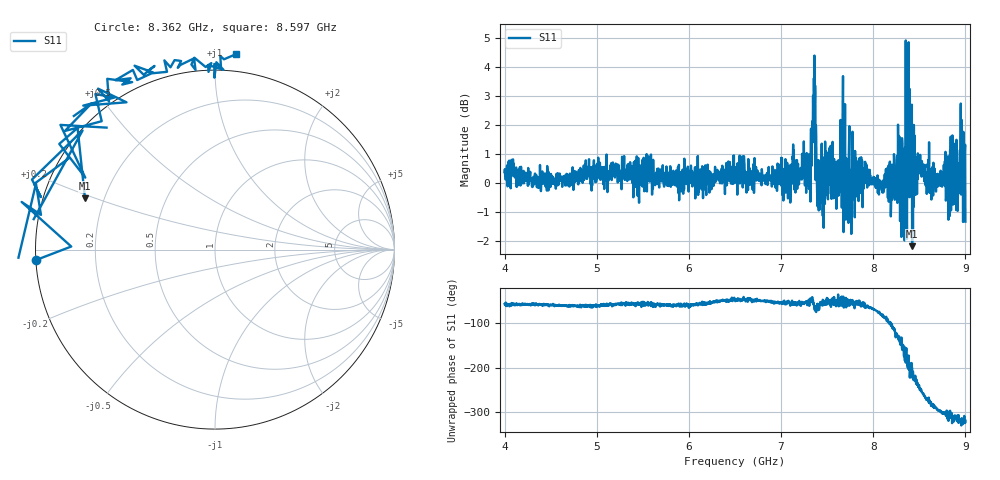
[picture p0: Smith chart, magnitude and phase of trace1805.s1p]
! Created with skrf 1.8.0 (http://scikit-rf.org).
# Hz S RI R 50.0
!freq ReS11 ImS11
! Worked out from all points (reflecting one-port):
!   1601 points, 4 GHz to 9 GHz, reference 50 ohm
!   lowest |S11| = -2.2 dB at 8.422 GHz (marker M1), VSWR 8.02, Z = 6.45 + j9.33 ohm
!   phase of S11 starts at -56 deg and turns -264 deg over the sweep
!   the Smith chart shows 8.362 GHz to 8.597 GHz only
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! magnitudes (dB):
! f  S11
! 4 GHz  0.4
! 4.625 GHz  -0.1
! 5.25 GHz  0.1
! 5.875 GHz  0.4
! 6.5 GHz  0.3
! 7.125 GHz  0.9
! 7.294 GHz  0.3
! 7.328 GHz  1.2
! 7.347 GHz  3.0
! 7.366 GHz  2.7
! 7.4 GHz  0.1
! 7.412 GHz  -0.2
! 7.538 GHz  1.3
! 7.616 GHz  0.0
! 7.669 GHz  2.8
! 7.75 GHz  -0.4
! 7.828 GHz  0.5
! 8.209 GHz  -0.2
! 8.262 GHz  -0.7
! 8.316 GHz  1.4
! 8.334 GHz  1.0
! 8.347 GHz  0.1
! 8.375 GHz  0.5
! 8.422 GHz  -2.2
! 8.806 GHz  0.8
! 8.947 GHz  1.0
! 8.972 GHz  0.6
! 9 GHz  -1.3
